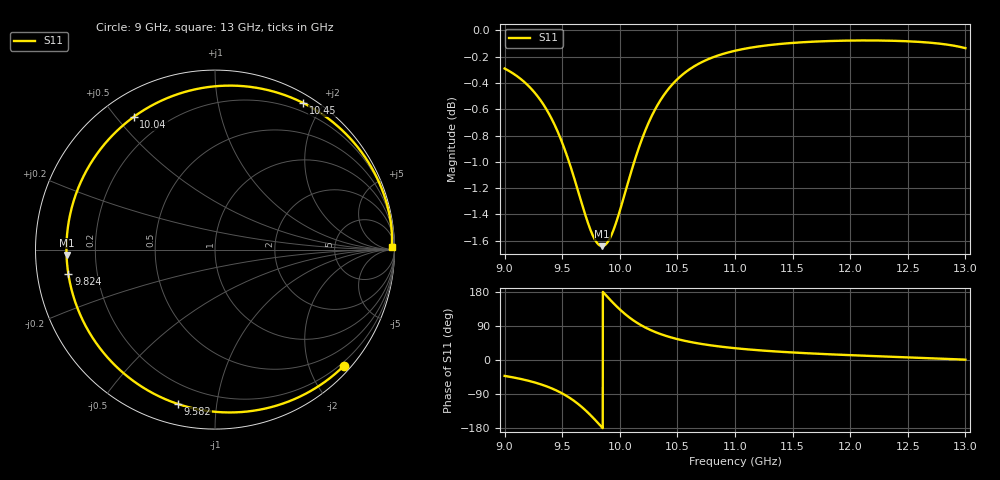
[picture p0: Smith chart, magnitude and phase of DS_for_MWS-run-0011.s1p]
! TOUCHSTONE file generated by CST DESIGN STUDIO
! Date and time: Tue Feb  4 18:22:23 2025
! Project name: C:\Work\MatlabApps\UnitCellOptimizationMatlab\CST\unitcell.cst
! Tree item: Tasks\Sweep1\SPara1\S-Parameters
! Header version: 2024
! Port assignment regex: !\s*Touchstone port\s*([0-9]+)\s*=\s*(CST MWS port|CST DES external port|CST DES block port)\s*(.+)\s* \(\"(.*)\"\)(\s*mode\s*([0-9]+))?.*
! Touchstone port assignment:
! Touchstone port 1 = CST DES external port 1 ("")
# GHz S MA R 50
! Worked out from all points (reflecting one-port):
!   4001 points, 9 GHz to 13 GHz, reference 50 ohm
!   lowest |S11| = -1.6 dB at 9.846 GHz (marker M1), VSWR 10.61, Z = 4.71 - j0.905 ohm
!   phase of S11 starts at -42 deg and turns -317 deg over the sweep
!   S11 on the Smith chart (normalised r, x): 9 GHz: 0.13, -2.60; 9.582 GHz: 0.10, -0.79; 9.824 GHz: 0.09, -0.08; 10.04 GHz: 0.09, +0.56; 10.45 GHz: 0.10, +1.76; 13 GHz: 67, +64
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9  0.9672 -42.0
9.147  0.9578 -50.5
9.279  0.9448 -60.8
9.393  0.9282 -72.9
9.5  0.9063 -88.1
9.582  0.8849 -103.4
9.643  0.8672 -117.1
9.701  0.8506 -132.4
9.767  0.8353 -152.1
9.824  0.8284 -170.6
9.846  0.8278 -177.9
9.881  0.8293 170.4
9.917  0.834 158.7
9.96  0.843 145.2
10  0.8537 133.5
10.045  0.8672 121.4
10.118  0.8892 104.5
10.202  0.9115 88.9
10.321  0.9356 72.2
10.451  0.9533 59.1
10.5  0.9582 55.1
10.601  0.9662 48.2
10.716  0.9728 42.0
11  0.9823 31.1
11.5  0.9891 19.9
12  0.9911 12.8
12.5  0.9905 7.1
13  0.9846 0.9
